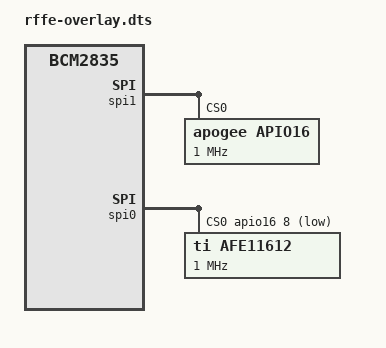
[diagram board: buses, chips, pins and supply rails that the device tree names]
/dts-v1/;
/plugin/;

/ {
    compatible = "brcm,bcm2835";

    /*
     * Fragment 0: SPI1 + APIO16 GPIO expander
     */
    fragment@0 {
        target = <&spi1>;
        __overlay__ {
            status = "okay";

            #address-cells = <1>;
            #size-cells = <0>;

            apio16: gpio@0 {
                compatible = "apogee,apio16";
                reg = <0>;                  /* spi1 CS0 */
                spi-max-frequency = <1000000>;

                gpio-controller;
                #gpio-cells = <2>;
            };
        };
    };

    /*
     * Fragment 1: SPI0 + AFE11612 ADC
     */
    fragment@1 {
        target = <&spi0>;
        __overlay__ {
            status = "okay";

            #address-cells = <1>;
            #size-cells = <0>;
            cs-gpios = <&apio16 8 1>;

            afe11612@0 {
                compatible = "ti,afe11612";
                reg = <0>;                  /* logical SPI device */
                spi-max-frequency = <1000000>;
                spi-cpha;                   /* MODE 1 */
            };
        };
    };
};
